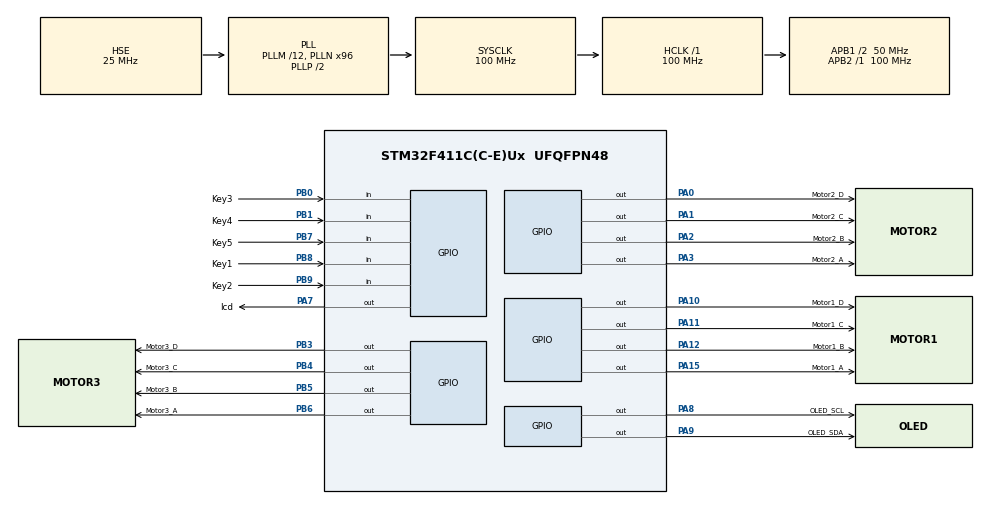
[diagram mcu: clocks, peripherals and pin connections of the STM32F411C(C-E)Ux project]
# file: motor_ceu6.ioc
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Mcu.Family=STM32F4
Mcu.Name=STM32F411C(C-E)Ux
Mcu.Package=UFQFPN48
NVIC.PriorityGroup=NVIC_PRIORITYGROUP_4
NVIC.TIM2_IRQn=true\:0\:0\:false\:false\:true\:true\:true\:true
NVIC.TIM3_IRQn=true\:0\:0\:false\:false\:true\:true\:true\:true
NVIC.TIM4_IRQn=true\:0\:0\:false\:false\:true\:true\:true\:true
NVIC.TIM5_IRQn=true\:0\:0\:false\:false\:true\:true\:true\:true
PA0-WKUP.GPIO_Label=Motor2_D
PA0-WKUP.GPIO_Speed=GPIO_SPEED_FREQ_VERY_HIGH
PA0-WKUP.Signal=GPIO_Output
PA1.GPIO_Label=Motor2_C
PA1.GPIO_Speed=GPIO_SPEED_FREQ_VERY_HIGH
PA1.Signal=GPIO_Output
PA10.GPIO_Label=Motor1_D
PA10.GPIO_Speed=GPIO_SPEED_FREQ_VERY_HIGH
PA10.Signal=GPIO_Output
PA11.GPIO_Label=Motor1_C
PA11.GPIO_Speed=GPIO_SPEED_FREQ_VERY_HIGH
PA11.Signal=GPIO_Output
PA12.GPIO_Label=Motor1_B
PA12.GPIO_Speed=GPIO_SPEED_FREQ_VERY_HIGH
PA12.Signal=GPIO_Output
PA13.Mode=Serial_Wire
PA13.Signal=SYS_JTMS-SWDIO
PA14.Mode=Serial_Wire
PA14.Signal=SYS_JTCK-SWCLK
PA15.GPIO_Label=Motor1_A
PA15.GPIO_Speed=GPIO_SPEED_FREQ_VERY_HIGH
PA15.Signal=GPIO_Output
PA2.GPIO_Label=Motor2_B
PA2.GPIO_Speed=GPIO_SPEED_FREQ_VERY_HIGH
PA2.Signal=GPIO_Output
PA3.GPIO_Label=Motor2_A
PA3.GPIO_Speed=GPIO_SPEED_FREQ_VERY_HIGH
PA3.Signal=GPIO_Output
PA7.GPIO_Label=lcd
PA7.GPIO_ModeDefaultOutputPP=GPIO_MODE_OUTPUT_OD
PA7.GPIO_PuPd=GPIO_NOPULL
PA7.GPIO_Speed=GPIO_SPEED_FREQ_VERY_HIGH
PA7.PinState=GPIO_PIN_SET
PA7.Signal=GPIO_Output
PA8.GPIO_Label=OLED_SCL
PA8.GPIO_ModeDefaultOutputPP=GPIO_MODE_OUTPUT_OD
PA8.GPIO_PuPd=GPIO_NOPULL
PA8.GPIO_Speed=GPIO_SPEED_FREQ_VERY_HIGH
PA8.Signal=GPIO_Output
PA9.GPIO_Label=OLED_SDA
PA9.GPIO_ModeDefaultOutputPP=GPIO_MODE_OUTPUT_OD
PA9.GPIO_PuPd=GPIO_NOPULL
PA9.GPIO_Speed=GPIO_SPEED_FREQ_VERY_HIGH
PA9.Signal=GPIO_Output
PB0.GPIO_Label=Key3
PB0.GPIO_PuPd=GPIO_PULLUP
PB0.Signal=GPIO_Input
PB1.GPIO_Label=Key4
PB1.GPIO_PuPd=GPIO_PULLUP
PB1.Signal=GPIO_Input
PB3.GPIO_Label=Motor3_D
PB3.GPIO_Speed=GPIO_SPEED_FREQ_VERY_HIGH
PB3.Signal=GPIO_Output
PB4.GPIO_Label=Motor3_C
PB4.GPIO_Speed=GPIO_SPEED_FREQ_VERY_HIGH
PB4.Signal=GPIO_Output
PB5.GPIO_Label=Motor3_B
PB5.GPIO_Speed=GPIO_SPEED_FREQ_VERY_HIGH
PB5.Signal=GPIO_Output
PB6.GPIO_Label=Motor3_A
PB6.GPIO_Speed=GPIO_SPEED_FREQ_VERY_HIGH
PB6.Signal=GPIO_Output
PB7.GPIO_Label=Key5
PB7.GPIO_PuPd=GPIO_PULLUP
PB7.Signal=GPIO_Input
PB8.GPIO_Label=Key1
PB8.GPIO_PuPd=GPIO_PULLUP
PB8.Signal=GPIO_Input
PB9.GPIO_Label=Key2
PB9.GPIO_PuPd=GPIO_PULLUP
PB9.Signal=GPIO_Input
PH0\ -\ OSC_IN.Mode=HSE-External-Oscillator
PH0\ -\ OSC_IN.Signal=RCC_OSC_IN
PH1\ -\ OSC_OUT.Mode=HSE-External-Oscillator
PH1\ -\ OSC_OUT.Signal=RCC_OSC_OUT
ProjectManager.HeapSize=0x200
ProjectManager.StackSize=0x400
ProjectManager.TargetToolchain=MDK-ARM V5.32
RCC.48MHZClocksFreq_Value=50000000
RCC.AHBFreq_Value=100000000
RCC.APB1CLKDivider=RCC_HCLK_DIV2
RCC.APB1Freq_Value=50000000
RCC.APB1TimFreq_Value=100000000
RCC.APB2Freq_Value=100000000
RCC.APB2TimFreq_Value=100000000
RCC.CortexFreq_Value=100000000
RCC.HCLKFreq_Value=100000000
RCC.HSE_VALUE=25000000
RCC.HSI_VALUE=16000000
RCC.LSE_VALUE=32768
RCC.PLLM=12
RCC.PLLN=96
RCC.PLLSourceVirtual=RCC_PLLSOURCE_HSE
RCC.SYSCLKFreq_VALUE=100000000
RCC.SYSCLKSource=RCC_SYSCLKSOURCE_PLLCLK
RCC.VCOOutputFreq_Value=200000000
TIM2.AutoReloadPreload=TIM_AUTORELOAD_PRELOAD_ENABLE
TIM2.Period=19
TIM2.Prescaler=9999
TIM2.TIM_MasterOutputTrigger=TIM_TRGO_UPDATE
TIM3.Period=19
TIM3.Prescaler=9999
TIM4.Period=19
TIM4.Prescaler=9999
TIM5.Period=9
TIM5.Prescaler=9999
VP_TIM2_VS_ClockSourceINT.Mode=Internal
VP_TIM3_VS_ClockSourceINT.Mode=Internal
VP_TIM4_VS_ClockSourceINT.Mode=Internal
VP_TIM5_VS_ClockSourceINT.Mode=Internal
board=custom

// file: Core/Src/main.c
/* USER CODE BEGIN Header */
/**
  ******************************************************************************
  * @file           : main.c
  * @brief          : Main program body
  ******************************************************************************
  * @attention
  *
  * Copyright (c) 2025 STMicroelectronics.
  * All rights reserved.
  *
  * This software is licensed under terms that can be found in the LICENSE file
  * in the root directory of this software component.
  * If no LICENSE file comes with this software, it is provided AS-IS.
  *
  ******************************************************************************
  */
/* USER CODE END Header */
#include "main.h"
#include "tim.h"
#include "gpio.h"

/* USER CODE BEGIN Includes */
#include "key.h"
#include "oled.h"
#include "motor.h"
#include "menu.h"
#include "pressure.h"
#include "temperature.h"
/* USER CODE END Includes */

void SystemClock_Config(void);

int main(void)
{

  /* MCU Configuration--------------------------------------------------------*/

  /* Reset of all peripherals, Initializes the Flash interface and the Systick. */
  HAL_Init();

  /* Configure the system clock */
  SystemClock_Config();

  /* Initialize all configured peripherals */
  MX_GPIO_Init();
  MX_TIM2_Init();
  MX_TIM3_Init();
  MX_TIM4_Init();
  MX_TIM5_Init();
  /* USER CODE BEGIN 2 */
	HAL_Delay(1000);

	// 配置TIM2/3/4用于电机控制(2ms 传输)
	// 注意:不要直接启动定时器,由Motor_Run函数控制启动
    // 启动TIM5用于按键扫描(2ms中断)
	HAL_TIM_Base_Start_IT(&htim5);

	Key_Init();
	OLED_Init();
	HAL_Delay(100);
	OLED_Clear();
	HAL_Delay(100);
	Pressure_Init();
	Temperature_Init();
	Motor_InitAll();
//
  /* USER CODE END 2 */

  /* Infinite loop */
  /* USER CODE BEGIN WHILE */

//	Motor_Run(1);
//	Motor_Run(0);
//	Motor_Run(2);

	while(1)
	{
    /* USER CODE END WHILE */

    /* USER CODE BEGIN 3 */

    	menu1(); // 进入主菜单循环

	}
  /* USER CODE END 3 */
}

void SystemClock_Config(void)
{
  RCC_OscInitTypeDef RCC_OscInitStruct = {0};
  RCC_ClkInitTypeDef RCC_ClkInitStruct = {0};

  /** Configure the main internal regulator output voltage
  */
  __HAL_RCC_PWR_CLK_ENABLE();
  __HAL_PWR_VOLTAGESCALING_CONFIG(PWR_REGULATOR_VOLTAGE_SCALE1);

  /** Initializes the RCC Oscillators according to the specified parameters
  * in the RCC_OscInitTypeDef structure.
  */
  RCC_OscInitStruct.OscillatorType = RCC_OSCILLATORTYPE_HSE;
  RCC_OscInitStruct.HSEState = RCC_HSE_ON;
  RCC_OscInitStruct.PLL.PLLState = RCC_PLL_ON;
  RCC_OscInitStruct.PLL.PLLSource = RCC_PLLSOURCE_HSE;
  RCC_OscInitStruct.PLL.PLLM = 12;
  RCC_OscInitStruct.PLL.PLLN = 96;
  RCC_OscInitStruct.PLL.PLLP = RCC_PLLP_DIV2;
  RCC_OscInitStruct.PLL.PLLQ = 4;
  if (HAL_RCC_OscConfig(&RCC_OscInitStruct) != HAL_OK)
  {
    Error_Handler();
  }

  /** Initializes the CPU, AHB and APB buses clocks
  */
  RCC_ClkInitStruct.ClockType = RCC_CLOCKTYPE_HCLK|RCC_CLOCKTYPE_SYSCLK
                              |RCC_CLOCKTYPE_PCLK1|RCC_CLOCKTYPE_PCLK2;
  RCC_ClkInitStruct.SYSCLKSource = RCC_SYSCLKSOURCE_PLLCLK;
  RCC_ClkInitStruct.AHBCLKDivider = RCC_SYSCLK_DIV1;
  RCC_ClkInitStruct.APB1CLKDivider = RCC_HCLK_DIV2;
  RCC_ClkInitStruct.APB2CLKDivider = RCC_HCLK_DIV1;

  if (HAL_RCC_ClockConfig(&RCC_ClkInitStruct, FLASH_LATENCY_3) != HAL_OK)
  {
    Error_Handler();
  }
}

/* USER CODE BEGIN 4 */
/* 中断回调函数已移至stm32f4xx_it.c文件中统一管理 */
/* USER CODE END 4 */

void Error_Handler(void)
{
  __disable_irq();
  while (1)
  {
  }
}
